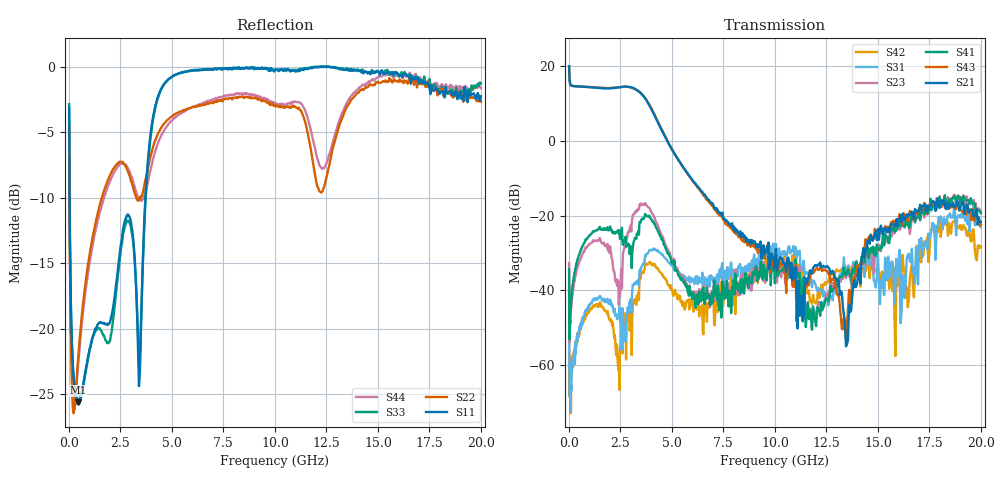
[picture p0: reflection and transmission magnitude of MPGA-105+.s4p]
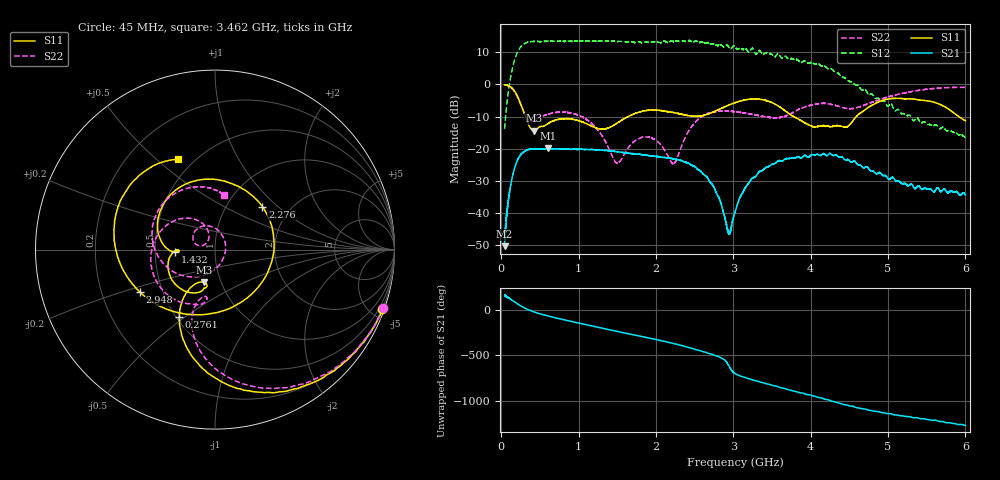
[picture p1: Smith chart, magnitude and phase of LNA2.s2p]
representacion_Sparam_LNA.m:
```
addpath('/Users/danielmontesano/Documents/MATLAB/rend_v2')
rend('default','painters')


LNA_man = sparameters('Manufacturer/MPGA-105+.s4p');
%% LNA2

LNA2 = sparameters('Sparameters/LNA2.s2p');
figure;
hold on;
rfplot(LNA2,1,2);
rfplot(LNA2,1,1);
rfplot(LNA2,2,2);

lines = findobj(gcf,'Type','Line');
for i = 1:numel(lines)
  lines(i).LineWidth = 2.0;
end

ylim([-15 15])
title('LNA 2 S parameters');
legend('Gain','Input return loss','Output return loss','location','northeast');

xlabel('Frequency [Hz]')
ylabel('S parameters [dB]');
set(gcf, 'color', 'w')
set(gca, 'fontsize', 18)

print('LNA2','-depsc')
savefig('LNA2')

%% LNA1

% LNA1 = sparameters('LNA1_L56nH_Caps10p.s2p')
LNA1 = sparameters('Sparameters/LNA1.s2p')


% figure;
% hold on
% rfplot(sparameters('LNA1.s2p'));
% pause()
% rfplot(sparameters('LNA1_bobinaCambiada1.5UH.s2p'));
% pause()
% rfplot(sparameters('LNA1_bobinaCambiada_Caps56pf.s2p'));
% pause()
% rfplot(sparameters('LNA1_bobinaCambiada_Capsp1nf.s2p'));
% pause()
% rfplot(sparameters('LNA1_L56nH_Caps10p.s2p'));

figure;
hold on;
rfplot(LNA1,1,2);
rfplot(LNA1,1,1);
rfplot(LNA1,2,2);


lines = findobj(gcf,'Type','Line');
for i = 1:numel(lines)
  lines(i).LineWidth = 2.0;
end

ylim([-15 15])
title('LNA 1 S parameters');
legend('Gain','Input return loss','Output return loss','location','northeast');

xlabel('Frequency [Hz]')
ylabel('S parameters [dB]');
set(gcf, 'color', 'w')
set(gca, 'fontsize', 18)

print('LNA1','-depsc')
savefig('LNA1')

%% LNAs comp
figure;
hold on;
rfplot(LNA1,1,2);
rfplot(LNA1,1,1);
rfplot(LNA1,2,2);
% rfplot(LNA2,1,2);
% rfplot(LNA2,1,1);
% rfplot(LNA2,2,2);
rfplot(LNA_man,2,1,'--');
rfplot(LNA_man,2,2,'--');
rfplot(LNA_man,1,1,'--')

lines = findobj(gcf,'Type','Line');
for i = 1:numel(lines)
  lines(i).LineWidth = 2.0;
end

ylim([-25 15])
yticks(-25:5:25)
xlim([1.5e9 3.5e9])
xticks(1.5e9:0.25e9:3.5e9);
title('LNA S parameters');
% legend({'Gain LNA1','Input R_{loss} LNA1','Output R_{loss} LNA1','Gain LNA2','Input R_{loss} LNA2','Output R_{loss} LNA2','Manufacturer gain','Manufacturer input R_{loss} LNA2','Manufacturer output R_{loss} LNA2'},'fontsize',12,'location','eastoutside');
legend({'Measured gain','Measured input R_{loss}','Measured output R_{loss}','Manufacturer gain','Manufacturer input R_{loss}','Manufacturer output R_{loss}'},'fontsize',14,'position',[0.25 0.6 0.2 0.2]);

xlabel('Frequency [Hz]')
ylabel('Magnitude [dB]');
set(gcf, 'color', 'w')
set(gca, 'fontsize', 18)

print('V2_LNA_Sparam','-depsc')
savefig('V2_LNA_Sparam')
```
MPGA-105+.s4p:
!Mini-Circuits Laboratory
!S-Parameters
!Model: MPGA-105+
!Run / Lot / Date Code: NA / BP384P001-05 / 1348
!Fixture: NA; TB-561+
!AUTO PORT EXTENSION DONE: PORT<1>=113.35ps; PORT<2>=112.76ps; PORT<3>=112.16ps; PORT<4>=112.11ps
!Network Analyzer: PNA-X N5242A - 423 4 ports;  Serial number: 71256
!Date: 2/15/2014
!S/N: Unit# 1
!Correction: S11(Full 4 Port(1,2,3,4))
!S12(Full 4 Port(1,2,3,4))
!S13(Full 4 Port(1,2,3,4))
!S14(Full 4 Port(1,2,3,4))
!S21(Full 4 Port(1,2,3,4))
!S22(Full 4 Port(1,2,3,4))
!S23(Full 4 Port(1,2,3,4))
!S24(Full 4 Port(1,2,3,4))
!S31(Full 4 Port(1,2,3,4))
!S32(Full 4 Port(1,2,3,4))
!S33(Full 4 Port(1,2,3,4))
!S34(Full 4 Port(1,2,3,4))
!S41(Full 4 Port(1,2,3,4))
!S42(Full 4 Port(1,2,3,4))
!S43(Full 4 Port(1,2,3,4))
!S44(Full 4 Port(1,2,3,4))
!S4P File: Measurements: <S11,S12,S13,S14>,
!<S21,S22,S23,S24>,
!<S31,S32,S33,S34>,
!<S41,S42,S43,S44>:
# Hz S  dB  R 50
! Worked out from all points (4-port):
!   660 points, 10 MHz to 20 GHz, reference 50 ohm
!   strongest paths, dB at 10 MHz, 2.65 GHz, 6.775 GHz, 11.8 GHz, 20 GHz:
!     S21: 20.0, 14.6, -15.7, -35.5, -21.7
!     S43: 20.1, 14.6, -16.1, -35.3, -22.3
!     S41: -34.3, -27.1, -42.0, -50.5, -19.3
!     S23: -32.6, -29.5, -41.4, -50.2, -18.7
!     S31: -44.7, -50.2, -37.3, -39.2, -23.1
!     S42: -38.6, -49.7, -43.6, -43.6, -28.2
!   lowest |S11| = -25.6 dB at 430 MHz (marker M1), VSWR 1.11, Z = 47.7 - j4.56 ohm
!   |S11| at or under -10 dB: 33.64 MHz to 3.712 GHz (3.678 GHz wide, 196 % of centre)
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1e7  -3.09 -38.6  -22.50 50.7  -41.96 76.3  -47.15 56.3
     20.04 158.9  -4.55 -42.0  -32.64 88.3  -38.78 67.0
     -44.74 104.0  -48.75 98.8  -2.85 -38.9  -22.33 47.1
     -34.35 111.6  -38.64 107.0  20.08 159.8  -4.07 -42.1
4.3e8  -25.61 -114.6  -18.94 -17.8  -55.39 110.7  -91.58 -73.9
       14.65 149.1  -22.56 128.0  -33.60 46.5  -53.41 88.0
       -51.40 89.5  -70.27 81.2  -25.66 -114.5  -18.92 -18.2
       -31.53 46.8  -52.86 81.1  14.67 149.0  -23.01 133.8
2e10  -2.24 5.5  -21.67 -18.1  -23.04 75.4  -19.33 -71.7
      -21.67 -17.6  -2.64 -4.2  -18.71 -73.4  -28.29 113.3
      -23.05 75.1  -18.68 -73.2  -1.25 -17.0  -22.33 -17.6
      -19.33 -71.9  -28.22 113.1  -22.33 -17.3  -1.61 -20.8
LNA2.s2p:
!Agilent Technologies,E8364A,US41440144,A.06.04.32
!Agilent E8364A: A.06.04.32
!Date: Thursday, November 08, 2018 14:19:44
!Correction: S11(Full 2 Port(1,2)) S21(Full 2 Port(1,2)) S12(Full 2 Port(1,2)) S22(Full 2 Port(1,2))
!S2P File: Measurements: S11, S21, S12, S22:
# Hz S  dB  R 50
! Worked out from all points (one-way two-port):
!   16001 points, 45 MHz to 6 GHz, reference 50 ohm
!   highest |S21| = -19.94 dB at 606.6 MHz (marker M1); lowest = -50.4 dB at 45 MHz (marker M2)
!   lowest |S11| = -14.3 dB at 422 MHz (marker M3), VSWR 1.47, Z = 41.7 - j15.8 ohm
!   |S11| at or under -10 dB: 313.2 MHz to 1.641 GHz (1.328 GHz wide, 136 % of centre); 3.78 GHz to 4.589 GHz (809.2 MHz wide, 19.3 % of centre); 5.915 GHz to end of sweep
!   |S22| runs from -24.7 to -0.1 dB; largest |S21 - S12| = 4.9
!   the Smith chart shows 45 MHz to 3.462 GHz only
!   S11 on the Smith chart (normalised r, x): 45 MHz: 0.18, -5.77; 276.1 MHz: 0.52, -0.47; 1.432 GHz: 0.63, -0.02; 2.276 GHz: 1.46, +0.80; 2.948 GHz: 0.37, -0.23; 3.462 GHz: 0.41, +0.59
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4.5e7  -0.09 -19.6  -50.36 159.9  -13.86 -51.9  -0.09 -19.3
2.761284e8  -7.45 -118.1  -21.29 32.7  12.30 -159.0  -7.72 -108.3
4.220259e8  -14.35 -108.1  -20.05 -21.3  13.42 146.0  -11.25 -99.5
6.066309e8  -12.17 -108.6  -19.94 -67.0  13.46 98.0  -9.26 -119.9
1.028319e9  -11.49 -166.5  -20.15 -149.9  13.52 7.2  -9.88 161.3
1.432143e9  -13.01 -176.3  -20.73 135.3  13.55 -75.3  -22.11 115.5
2.276264e9  -8.98 42.0  -23.42 -20.7  13.60 118.5  -22.80 -55.9
2.948062e9  -6.36 -150.6  -46.43 96.8  11.42 -29.1  -8.32 125.0
3.0225e9  -5.69 -165.9  -39.73 19.3  11.67 -44.0  -8.50 115.3
3.462426e9  -5.28 112.2  -25.46 -100.5  9.53 -131.7  -10.25 80.1
6e9  -11.28 -24.7  -34.43 167.5  -16.51 142.3  -0.90 -12.9
